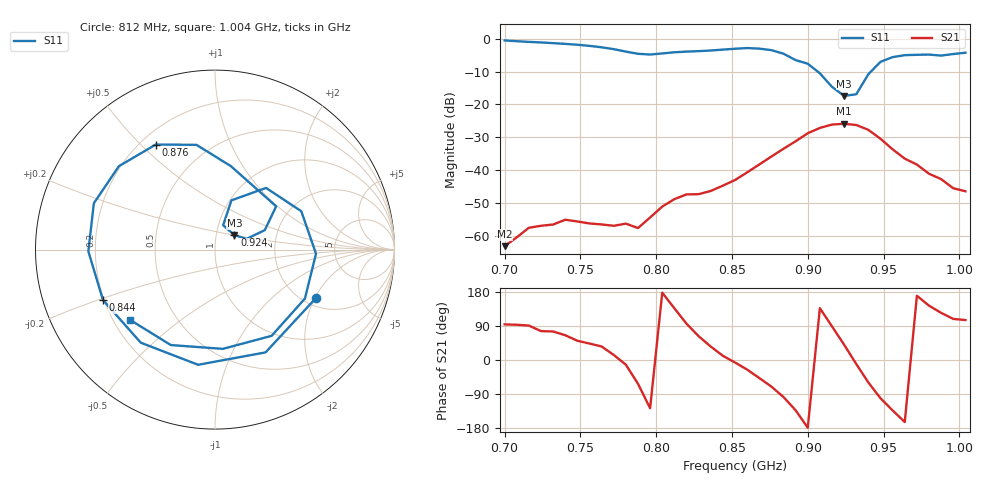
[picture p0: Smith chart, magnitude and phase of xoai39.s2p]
# Hz S RI R 50
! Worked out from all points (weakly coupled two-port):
!   39 points, 700 MHz to 1.004 GHz, reference 50 ohm
!   highest |S21| = -25.88 dB at 924 MHz (marker M1); lowest = -63.2 dB at 700 MHz (marker M2)
!   lowest |S11| = -17.4 dB at 924 MHz (marker M3), VSWR 1.31, Z = 61.3 + j10 ohm
!   |S11| at or under -10 dB: 906.6 MHz to 941.6 MHz (35.06 MHz wide, 3.79 % of centre)
!   S12 and S22 are empty: the file has one direction only
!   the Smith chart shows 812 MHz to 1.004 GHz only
!   S11 on the Smith chart (normalised r, x): 812 MHz: 2.31, -2.04; 844 MHz: 0.20, -0.21; 876 MHz: 0.26, +0.55; 924 MHz: 1.23, +0.20; 1.004 GHz: 0.27, -0.34
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7e8  0.7599 0.5593  -4.77e-05 0.000694  0 0  0 0
7.24e8  0.8438 -0.2496  0.000338 0.00138  0 0  0 0
7.4e8  0.4581 -0.6998  0.000732 0.0016  0 0  0 0
7.56e8  -0.1907 -0.7569  0.00112 0.00106  0 0  0 0
7.72e8  -0.6649 -0.2049  0.00138 0.000328  0 0  0 0
7.8e8  -0.5972 0.2245  0.0015 -0.00033  0 0  0 0
7.88e8  -0.2546 0.5335  0.000602 -0.00117  0 0  0 0
7.96e8  0.2321 0.5272  -0.00115 -0.00151  0 0  0 0
8.04e8  0.5687 0.1859  -0.00278 0.000111  0 0  0 0
8.12e8  0.5621 -0.2703  -0.00262 0.00249  0 0  0 0
8.28e8  -0.0942 -0.6417  0.00197 0.00383  0 0  0 0
8.44e8  -0.6241 -0.2809  0.00569 0.00112  0 0  0 0
8.52e8  -0.7056 -0.0097  0.00702 -0.000818  0 0  0 0
8.76e8  -0.33 0.5852  0.00549 -0.0151  0 0  0 0
9e8  0.3408 0.2411  -0.0365 -0.000814  0 0  0 0
9.08e8  0.2774 0.1086  -0.032 0.0301  0 0  0 0
9.24e8  0.1086 0.0804  0.0388 0.0328  0 0  0 0
9.32e8  0.0455 0.1356  0.0479 -0.00895  0 0  0 0
9.4e8  0.0915 0.2744  0.0209 -0.0353  0 0  0 0
9.56e8  0.4808 0.2138  -0.0142 -0.0151  0 0  0 0
9.8e8  0.3155 -0.4805  -0.00708 0.00524  0 0  0 0
1.004e9  -0.4726 -0.3919  -0.00127 0.0046  0 0  0 0
